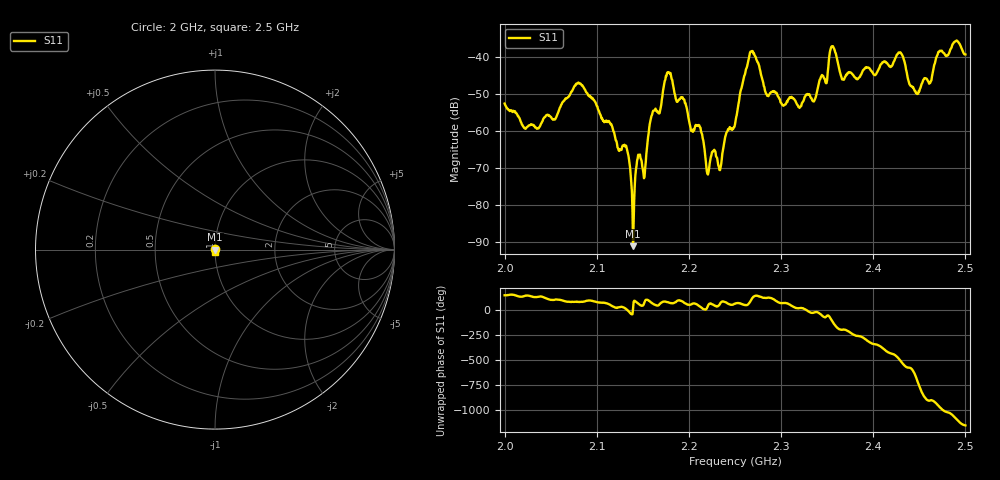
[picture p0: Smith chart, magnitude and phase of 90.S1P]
! C:\Users\rflab\Downloads\dp2_kdzw\90.S1P
! Touchstone 1.1 file saved by VNA.EXE V1.65 (www.ke5fx.com/gpib/readme.htm)
! 12/12/2024 6:54:09 PM
!  Source: HEWLETT PACKARD,8753D,0,6.14
!  Min freq: 2.000000E+009 Hz
!  Max freq: 2.500000E+009 Hz
!  Points: 801
!  Params: S21
# GHZ S MA R 50
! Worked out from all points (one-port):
!   801 points, 2 GHz to 2.5 GHz, reference 50 ohm
!   lowest |S11| = -91.1 dB at 2.139 GHz (marker M1), VSWR 1.00, Z = 50 + j0.000754 ohm
!   |S11| at or under -10 dB: start of sweep to end of sweep
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2  0.002348 151.2
2.035625  0.001089 134.4
2.0625  0.002409 99.1
2.0825  0.004359 84.3
2.125  0.000565 32.0
2.1325  0.000585 7.9
2.139375  2.8e-05 15.6
2.144375  0.000427 71.2
2.151875  0.000245 81.6
2.159375  0.001598 76.6
2.17625  0.006057 81.9
2.1875  0.002477 95.8
2.211875  0.00113 38.0
2.220625  0.000259 42.7
2.23375  0.000297 67.1
2.25  0.001231 64.7
2.268125  0.01197 113.6
2.285  0.002987 125.5
2.3125  0.002769 39.6
2.33625  0.002598 -20.7
2.355625  0.01396 -113.2
2.36625  0.004959 163.3
2.375  0.006191 135.7
2.42875  0.0115 -139.0
2.4375  0.005152 143.1
2.448125  0.00317 0.8
2.471875  0.01196 106.6
2.5  0.01081 -79.9
